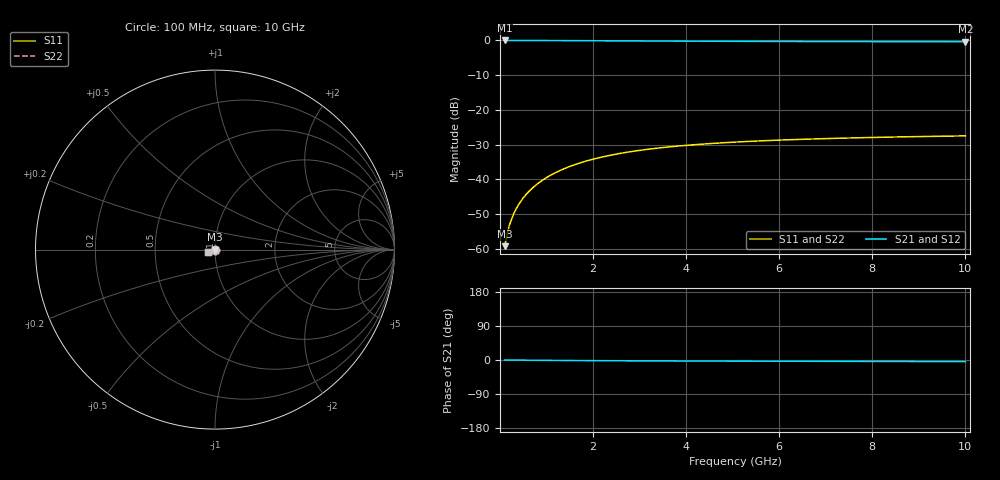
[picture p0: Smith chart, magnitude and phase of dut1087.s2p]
! Touchstone file exported from HFSS 2024.1.0
!  File:  C:/UserFiles/LocalFiles/RDL_TSV_Batchsim/temp_TSV1_1087_1780066045.aedt
!  Generated:  10:51:56 PM May 29, 2026
!  Design:  TSV1
!  Project:  temp_TSV1_1087_1780066045
!  Setup:  Setup1
!  Solution:  Sweep
! Variables:
!  dtsv = 10.52um
!  hbump = 3um
!  htsv = 64.15um
!  lrdl = 252.1521522um
!  p = 40
!  p1 = 41.23um
!  t = 500um
!  trdl = 3um
!  wrdl = 24.89489489um
# GHz S MA R 50.000000
! Terminal data exported
! Port[1] = TSV22_T1
! Port[2] = TSV22_T2
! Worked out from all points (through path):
!   100 points, 100 MHz to 10 GHz, reference 50 ohm
!   highest |S21| = 0.00 dB at 100 MHz (marker M1); lowest = -0.4 dB at 10 GHz (marker M2)
!   lowest |S11| = -59.2 dB at 100 MHz (marker M3), VSWR 1.00, Z = 50 - j0.109 ohm
!   |S11| at or under -10 dB: start of sweep to end of sweep
!   |S22| runs from -59.2 to -27.5 dB; largest |S21 - S12| = 3.3e-15
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0.1  0.001094 -85.3  0.9998 -0.1  0.9998 -0.1  0.001094 -85.3
! Gamma 0 0 0 0
! Port Impedance 50 0 50 0
0.2  0.002177 -90.0  0.9998 -0.2  0.9998 -0.2  0.002177 -90.0
0.3  0.003261 -92.6  0.9996 -0.3  0.9996 -0.3  0.003261 -92.6
0.4  0.004342 -94.7  0.9994 -0.4  0.9994 -0.4  0.004342 -94.7
0.5  0.005416 -96.5  0.9991 -0.5  0.9991 -0.5  0.005416 -96.5
0.6  0.006481 -98.2  0.9988 -0.6  0.9988 -0.6  0.006481 -98.2
0.7  0.007535 -99.8  0.9984 -0.7  0.9984 -0.7  0.007535 -99.8
0.8  0.008575 -101.3  0.998 -0.8  0.998 -0.8  0.008575 -101.3
0.9  0.0096 -102.9  0.9975 -0.9  0.9975 -0.9  0.0096 -102.9
1.1  0.0116 -105.8  0.9965 -1.0  0.9965 -1.0  0.0116 -105.8
1.4  0.01444 -110.0  0.9947 -1.3  0.9947 -1.3  0.01444 -110.0
1.6  0.01623 -112.6  0.9933 -1.4  0.9933 -1.4  0.01623 -112.6
1.8  0.01793 -115.2  0.992 -1.6  0.992 -1.6  0.01793 -115.2
2.1  0.0203 -118.8  0.9898 -1.8  0.9898 -1.8  0.0203 -118.8
2.5  0.02313 -123.3  0.987 -2.0  0.987 -2.0  0.02313 -123.3
2.9  0.02561 -127.4  0.9842 -2.2  0.9842 -2.2  0.02561 -127.4
3.4  0.02826 -132.0  0.9809 -2.4  0.9809 -2.4  0.02826 -132.0
4.2  0.03166 -138.2  0.9761 -2.7  0.9761 -2.7  0.03166 -138.2
5.1  0.03456 -144.1  0.9717 -3.0  0.9717 -3.0  0.03456 -144.1
6.7  0.03814 -152.1  0.9658 -3.4  0.9658 -3.4  0.03813 -152.1
8.4  0.04065 -158.6  0.9615 -3.8  0.9615 -3.8  0.04065 -158.6
10  0.04232 -163.7  0.9586 -4.2  0.9586 -4.2  0.04232 -163.7
